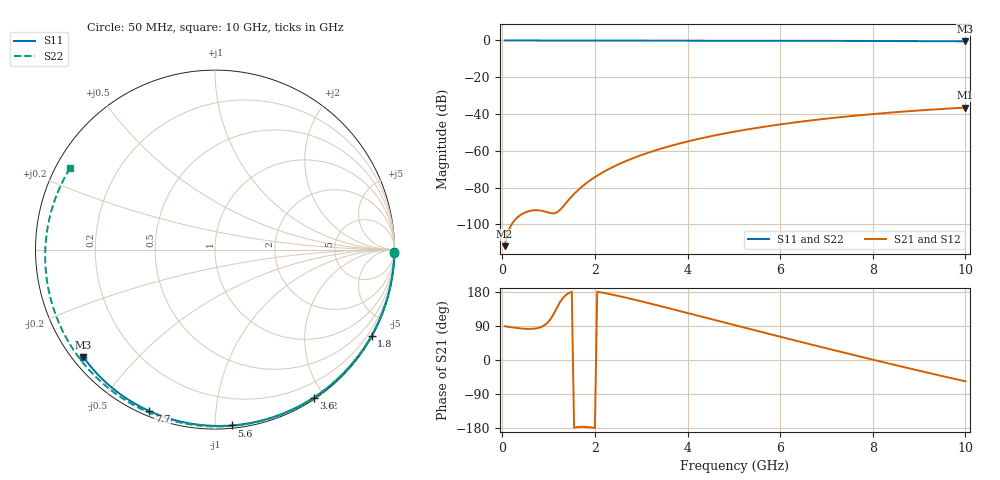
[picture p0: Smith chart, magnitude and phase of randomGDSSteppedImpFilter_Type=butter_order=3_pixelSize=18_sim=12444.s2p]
! freq	dB(S11)	phase(S11)	dB(S12)	phase(S12)
!  dB(S21)	phase(S21)	dB(S22)	phase(S22)
!S-par simulation data
#  GHz  S  DB  R 50
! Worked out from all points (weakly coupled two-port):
!   200 points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, 50 MHz to 10 GHz, reference 50 ohm
!   highest |S21| = -36.50 dB at 10 GHz (marker M1); lowest = -111.8 dB at 50 MHz (marker M2)
!   lowest |S11| = -0.5 dB at 10 GHz (marker M3), VSWR 36.57, Z = 1.54 - j17.8 ohm
!   |S11| at or under -10 dB: nowhere
!   |S22| runs from -0.7 to 0.0 dB; largest |S21 - S12| = 0
!   S11 on the Smith chart (normalised r, x): 50 MHz: open; 1.8 GHz: 0.03, -3.89; 3.6 GHz: 0.02, -1.87; 5.6 GHz: 0.02, -1.10; 7.7 GHz: 0.02, -0.67; 10 GHz: 0.03, -0.36
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0.05  -0.00 -0.8  -111.78 89.2  -111.78 89.2  -0.00 -1.1
0.85  -0.02 -13.7  -92.54 87.6  -92.54 87.6  -0.02 -19.2
1.65  -0.03 -26.5  -80.99 -176.6  -80.99 -176.6  -0.05 -36.9
1.7  -0.03 -27.2  -79.88 -176.3  -79.88 -176.3  -0.05 -38.0
1.75  -0.04 -28.0  -78.82 -176.3  -78.82 -176.3  -0.05 -39.1
1.8  -0.04 -28.8  -77.82 -176.6  -77.82 -176.6  -0.05 -40.1
2.1  -0.04 -33.5  -72.69 178.9  -72.69 178.9  -0.06 -46.6
2.5  -0.05 -39.7  -67.41 169.2  -67.41 169.2  -0.07 -55.2
2.9  -0.06 -45.8  -63.23 157.8  -63.23 157.8  -0.08 -63.6
3.4  -0.07 -53.3  -58.99 142.7  -58.99 142.7  -0.10 -73.9
3.6  -0.08 -56.3  -57.53 136.5  -57.53 136.5  -0.10 -77.9
4.3  -0.09 -66.5  -53.14 114.6  -53.14 114.6  -0.13 -91.9
5.05  -0.12 -77.1  -49.39 91.0  -49.39 91.0  -0.16 -106.6
5.6  -0.14 -84.6  -47.09 73.8  -47.09 73.8  -0.20 -117.1
6.15  -0.16 -92.0  -45.10 56.8  -45.10 56.8  -0.23 -127.7
6.7  -0.19 -99.3  -43.35 39.9  -43.35 39.9  -0.27 -138.2
7.7  -0.26 -112.1  -40.68 9.8  -40.68 9.8  -0.36 -157.9
8.35  -0.31 -120.3  -39.25 -9.4  -39.25 -9.4  -0.44 -171.3
8.8  -0.35 -125.9  -38.39 -22.5  -38.39 -22.5  -0.49 179.0
9.2  -0.39 -130.8  -37.69 -33.9  -37.69 -33.9  -0.55 170.0
9.6  -0.43 -135.8  -37.06 -45.2  -37.06 -45.2  -0.60 160.5
10  -0.48 -140.7  -36.50 -56.3  -36.50 -56.3  -0.67 150.6
